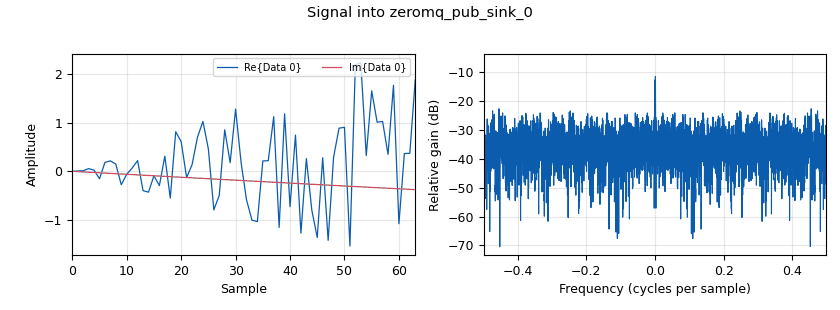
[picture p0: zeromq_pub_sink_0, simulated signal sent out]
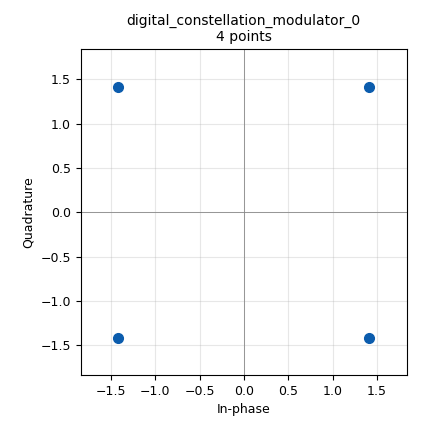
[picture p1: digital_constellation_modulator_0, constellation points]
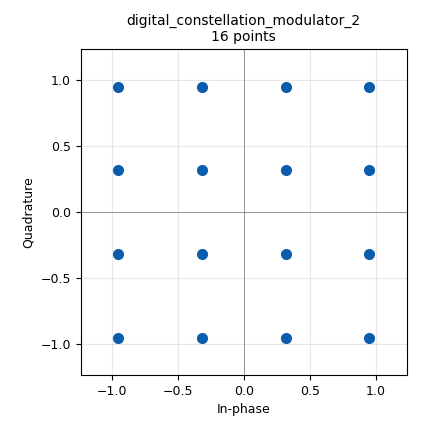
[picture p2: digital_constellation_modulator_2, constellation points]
options:
  parameters:
    author: Yevhenii Borysenko
    description: Generator radiosignals for diploma project
    generate_options: qt_gui
    id: modulation_classifier
    output_language: python
    title: Modulation_classifier
  states: {}

blocks:
- name: APSK16
  id: variable_constellation
  parameters:
    precision: '16'
    type: qpsk
  states: {}
- name: APSK32
  id: variable_constellation
  parameters:
    precision: '32'
    type: qpsk
  states: {}
- name: QAM32
  id: variable_constellation
  parameters:
    precision: '32'
    type: 16qam
  states: {}
- name: samp_rate
  id: variable
  parameters:
    value: '1024000'
  states: {}
- name: analog_frequency_modulator_fc_0
  id: analog_frequency_modulator_fc
  parameters:
    sensitivity: '1'
  states: {}
- name: analog_random_source_x_0
  id: analog_random_source_x
  parameters:
    max: '255'
    min: '0'
    num_samps: '1024'
    repeat: 'False'
    type: byte
  states: {}
- name: analog_random_source_x_0_0
  id: analog_random_source_x
  parameters:
    max: '7'
    min: '0'
    num_samps: '1024'
    repeat: 'True'
    type: int
  states: {}
- name: analog_sig_source_x_0
  id: analog_sig_source_x
  parameters:
    amp: '1'
    freq: '1000'
    offset: '0'
    phase: '0'
    samp_rate: samp_rate
    type: float
    waveform: analog.GR_COS_WAVE
  states: {}
- name: blocks_delay_0
  id: blocks_delay
  parameters:
    delay: '1'
    type: complex
  states: {}
- name: blocks_float_to_complex_0
  id: blocks_float_to_complex
  parameters: {}
  states: {}
- name: blocks_head_0
  id: blocks_head
  parameters:
    num_items: '1024000'
    type: complex
  states: {}
- name: blocks_head_0_0
  id: blocks_head
  parameters:
    num_items: '1024000'
    type: complex
  states: {}
- name: blocks_head_0_1
  id: blocks_head
  parameters:
    num_items: '1024000'
    type: complex
  states: {}
- name: blocks_head_0_3
  id: blocks_head
  parameters:
    num_items: '1024000'
    type: complex
  states: {}
- name: blocks_head_0_3_0
  id: blocks_head
  parameters:
    num_items: '1024000'
    type: complex
  states: {}
- name: blocks_head_0_3_1
  id: blocks_head
  parameters:
    num_items: '1024000'
    type: complex
  states: {}
- name: blocks_multiply_xx_0
  id: blocks_multiply_xx
  parameters:
    type: float
  states: {}
- name: blocks_selector_0
  id: blocks_selector
  parameters:
    enabled: 'True'
    input_index: '7'
    num_inputs: '8'
    num_outputs: '1'
    output_index: '0'
    type: complex
  states: {}
- name: blocks_stream_mux_0
  id: blocks_stream_mux
  parameters:
    lengths: (1, 1)
    type: complex
  states: {}
- name: blocks_throttle2_0
  id: blocks_throttle2
  parameters:
    samples_per_second: samp_rate
    type: complex
  states: {}
- name: blocks_throttle2_0_0
  id: blocks_throttle2
  parameters:
    samples_per_second: samp_rate
    type: complex
  states: {}
- name: blocks_throttle2_0_1
  id: blocks_throttle2
  parameters:
    samples_per_second: samp_rate
    type: complex
  states: {}
- name: blocks_throttle2_0_2
  id: blocks_throttle2
  parameters:
    samples_per_second: samp_rate
    type: complex
  states: {}
- name: blocks_throttle2_0_2_1
  id: blocks_throttle2
  parameters:
    samples_per_second: samp_rate
    type: float
  states: {}
- name: blocks_throttle2_0_3
  id: blocks_throttle2
  parameters:
    limit: items
    maximum: '1024'
    samples_per_second: samp_rate
    type: complex
  states: {}
- name: blocks_throttle2_0_4
  id: blocks_throttle2
  parameters:
    samples_per_second: samp_rate
    type: complex
  states: {}
- name: blocks_throttle2_0_4_0
  id: blocks_throttle2
  parameters:
    samples_per_second: samp_rate
    type: complex
  states: {}
- name: blocks_throttle2_0_4_1
  id: blocks_throttle2
  parameters:
    samples_per_second: samp_rate
    type: complex
  states: {}
- name: blocks_unpack_k_bits_bb_0
  id: blocks_unpack_k_bits_bb
  parameters:
    k: '1'
  states: {}
- name: digital_chunks_to_symbols_xx_0
  id: digital_chunks_to_symbols_xx
  parameters:
    dimension: '2'
    in_type: byte
    out_type: complex
    symbol_table: '[1+1j, 1-1j, -1+1j, -1-1j]'
  states: {}
- name: digital_constellation_modulator_0
  id: digital_constellation_modulator
  parameters:
    constellation: APSK32
    differential: 'True'
    excess_bw: '0.35'
    samples_per_symbol: '2'
  states: {}
- name: digital_constellation_modulator_1
  id: digital_constellation_modulator
  parameters:
    constellation: APSK16
    differential: 'True'
    excess_bw: '0.35'
    samples_per_symbol: '2'
  states: {}
- name: digital_constellation_modulator_2
  id: digital_constellation_modulator
  parameters:
    constellation: QAM32
    differential: 'True'
    excess_bw: '0.35'
    samples_per_symbol: '2'
  states: {}
- name: digital_gmsk_mod_0
  id: digital_gmsk_mod
  parameters:
    bt: '0.35'
    samples_per_symbol: '2'
  states: {}
- name: digital_psk_mod_0
  id: digital_psk_mod
  parameters:
    constellation_points: '32'
    differential: 'True'
    excess_bw: '0.35'
    mod_code: '"none"'
    samples_per_symbol: '2'
  states: {}
- name: epy_block_0
  id: epy_block
  parameters:
    _source_code: |
      """
      Embedded Python Blocks:

      Each time this file is saved, GRC will instantiate the first class it finds
      to get ports and parameters of your block. The arguments to __init__  will
      be the parameters. All of them are required to have default values!
      """

      import numpy as np
      from gnuradio import gr


      class blk(gr.sync_block):  # other base classes are basic_block, decim_block, interp_block
          """Embedded Python Block example - a simple multiply const"""

          def __init__(self, example_param=1.0):  # only default arguments here
              """arguments to this function show up as parameters in GRC"""
              gr.sync_block.__init__(
                  self,
                  name='Embedded Python Block',   # will show up in GRC
                  in_sig=[np.int32],
                  out_sig=[np.float32]
              )
              # if an attribute with the same name as a parameter is found,
              # a callback is registered (properties work, too).
              self.example_param = example_param

          def work(self, input_items, output_items):
          	in0 = input_items[0]
          	out = output_items[0]
          	ask_levels = np.array([-7, -5, -3, -1, 1, 3, 5, 7])
          	out[:] = ask_levels[in0.astype(int)]
          	return len(output_items[0])
    example_param: '1.0'
  states: {}
- name: rational_resampler_xxx_0
  id: rational_resampler_xxx
  parameters:
    decim: '1'
    interp: '2'
    type: ccc
  states: {}
- name: zeromq_pub_sink_0
  id: zeromq_pub_sink
  parameters:
    address: tcp://*:5557
    timeout: '100'
    type: complex
  states: {}

connections:
- [analog_frequency_modulator_fc_0, '0', blocks_throttle2_0_1, '0']
- [analog_random_source_x_0, '0', blocks_unpack_k_bits_bb_0, '0']
- [analog_random_source_x_0, '0', digital_constellation_modulator_0, '0']
- [analog_random_source_x_0, '0', digital_constellation_modulator_1, '0']
- [analog_random_source_x_0, '0', digital_constellation_modulator_2, '0']
- [analog_random_source_x_0, '0', digital_gmsk_mod_0, '0']
- [analog_random_source_x_0, '0', digital_psk_mod_0, '0']
- [analog_random_source_x_0_0, '0', epy_block_0, '0']
- [analog_sig_source_x_0, '0', analog_frequency_modulator_fc_0, '0']
- [analog_sig_source_x_0, '0', blocks_float_to_complex_0, '1']
- [analog_sig_source_x_0, '0', blocks_multiply_xx_0, '0']
- [blocks_delay_0, '0', blocks_stream_mux_0, '1']
- [blocks_float_to_complex_0, '0', blocks_selector_0, '7']
- [blocks_head_0, '0', blocks_selector_0, '0']
- [blocks_head_0_0, '0', blocks_selector_0, '1']
- [blocks_head_0_1, '0', blocks_selector_0, '6']
- [blocks_head_0_3, '0', blocks_selector_0, '4']
- [blocks_head_0_3_0, '0', blocks_selector_0, '5']
- [blocks_head_0_3_1, '0', blocks_selector_0, '3']
- [blocks_multiply_xx_0, '0', blocks_float_to_complex_0, '0']
- [blocks_selector_0, '0', blocks_throttle2_0_3, '0']
- [blocks_stream_mux_0, '0', blocks_throttle2_0_2, '0']
- [blocks_throttle2_0, '0', blocks_head_0, '0']
- [blocks_throttle2_0_0, '0', blocks_head_0_0, '0']
- [blocks_throttle2_0_1, '0', blocks_head_0_1, '0']
- [blocks_throttle2_0_2, '0', blocks_selector_0, '2']
- [blocks_throttle2_0_2_1, '0', blocks_multiply_xx_0, '1']
- [blocks_throttle2_0_3, '0', zeromq_pub_sink_0, '0']
- [blocks_throttle2_0_4, '0', blocks_head_0_3, '0']
- [blocks_throttle2_0_4_0, '0', blocks_head_0_3_0, '0']
- [blocks_throttle2_0_4_1, '0', blocks_head_0_3_1, '0']
- [blocks_unpack_k_bits_bb_0, '0', digital_chunks_to_symbols_xx_0, '0']
- [digital_chunks_to_symbols_xx_0, '0', blocks_delay_0, '0']
- [digital_chunks_to_symbols_xx_0, '0', rational_resampler_xxx_0, '0']
- [digital_constellation_modulator_0, '0', blocks_throttle2_0_4_0, '0']
- [digital_constellation_modulator_1, '0', blocks_throttle2_0_4, '0']
- [digital_constellation_modulator_2, '0', blocks_throttle2_0_4_1, '0']
- [digital_gmsk_mod_0, '0', blocks_throttle2_0_0, '0']
- [digital_psk_mod_0, '0', blocks_throttle2_0, '0']
- [epy_block_0, '0', blocks_throttle2_0_2_1, '0']
- [rational_resampler_xxx_0, '0', blocks_stream_mux_0, '0']

metadata:
  file_format: 1
  grc_version: 3.10.9.2
